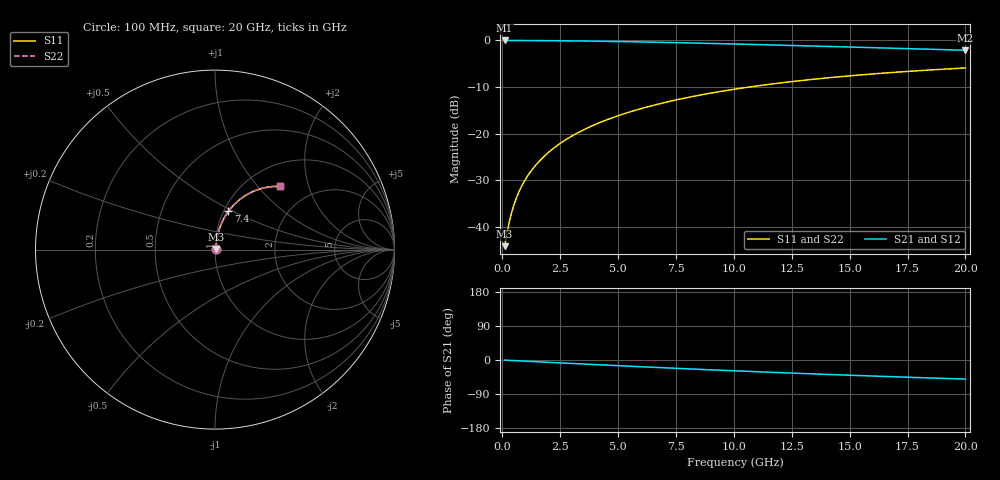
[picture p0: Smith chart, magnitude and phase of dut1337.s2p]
! Touchstone file exported from HFSS 2024.1.0
!  File:  C:/UserFiles/LocalFiles/RDL_TSV_Batchsim/temp_RDL_top_1337_1780365633.aedt
!  Generated:  10:03:37 AM Jun  2, 2026
!  Design:  RDL_top
!  Project:  temp_RDL_top_1337_1780365633
!  Setup:  Setup1
!  Solution:  Sweep
! Variables:
!  dtsv = 10.80580581um
!  hbump = 3um
!  htsv = 58.09um
!  ldown = 100um
!  lrdl = 699.65um
!  p = 40
!  p1 = 47.47um
!  rhole = 1um
!  t = 450um
!  tdown = 3.915915916um
!  trdl = 3.27um
!  wdown = 15.38538539um
!  wrdl = 14.52um
# GHz S MA R 50.000000
! Terminal data exported
! Port[1] = Box2_T1
! Port[2] = Box2_T2
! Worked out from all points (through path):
!   200 points, 100 MHz to 20 GHz, reference 50 ohm
!   highest |S21| = -0.05 dB at 100 MHz (marker M1); lowest = -2.1 dB at 20 GHz (marker M2)
!   group delay of S21, straight-line fit = 6.99 ps
!   lowest |S11| = -44.1 dB at 100 MHz (marker M3), VSWR 1.01, Z = 50.5 + j0.334 ohm
!   |S11| at or under -10 dB: start of sweep to 10.68 GHz
!   |S22| runs from -44.1 to -5.9 dB; largest |S21 - S12| = 3.3e-15
!   S11 on the Smith chart (normalised r, x): 100 MHz: 1.01, +0.01; 7.4 GHz: 1.05, +0.47; 20 GHz: 1.40, +1.33
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0.1  0.00625 31.9  0.9947 -0.3  0.9947 -0.3  0.00625 31.9
! Gamma 0 0 0 0
! Port Impedance 50 0 50 0
0.2  0.008529 50.4  0.9946 -0.6  0.9946 -0.6  0.008529 50.4
0.3  0.01129 60.2  0.9944 -0.9  0.9944 -0.9  0.01129 60.2
0.4  0.01422 65.8  0.9942 -1.3  0.9942 -1.3  0.01422 65.8
0.5  0.01722 69.3  0.994 -1.6  0.994 -1.6  0.01722 69.3
0.6  0.02023 71.8  0.9938 -1.9  0.9938 -1.9  0.02023 71.8
0.8  0.0263 74.9  0.9933 -2.5  0.9933 -2.5  0.0263 74.9
1.1  0.03546 77.4  0.9925 -3.4  0.9925 -3.4  0.03546 77.4
1.3  0.0416 78.4  0.992 -4.0  0.992 -4.0  0.0416 78.4
1.6  0.05084 79.2  0.991 -4.9  0.991 -4.9  0.05084 79.2
2.1  0.0663 79.6  0.989 -6.4  0.989 -6.4  0.06631 79.6
2.7  0.08488 79.3  0.986 -8.2  0.986 -8.2  0.08489 79.4
3.5  0.1096 78.4  0.9811 -10.6  0.9811 -10.6  0.1096 78.4
4.2  0.1311 77.3  0.9758 -12.7  0.9758 -12.7  0.1312 77.3
5  0.1555 75.7  0.969 -15.0  0.969 -15.0  0.1556 75.8
6.8  0.2093 72.0  0.9509 -20.1  0.9509 -20.1  0.2093 72.0
7.4  0.2267 70.6  0.9441 -21.7  0.9441 -21.7  0.2267 70.6
8.7  0.2634 67.7  0.9286 -25.2  0.9286 -25.2  0.2635 67.7
10.1  0.3011 64.6  0.911 -28.7  0.911 -28.7  0.3012 64.6
13.4  0.3816 57.3  0.8673 -36.6  0.8673 -36.6  0.3817 57.3
16.7  0.4493 50.5  0.8235 -43.8  0.8235 -43.8  0.4494 50.5
20  0.5048 44.2  0.7817 -50.4  0.7817 -50.4  0.505 44.3
